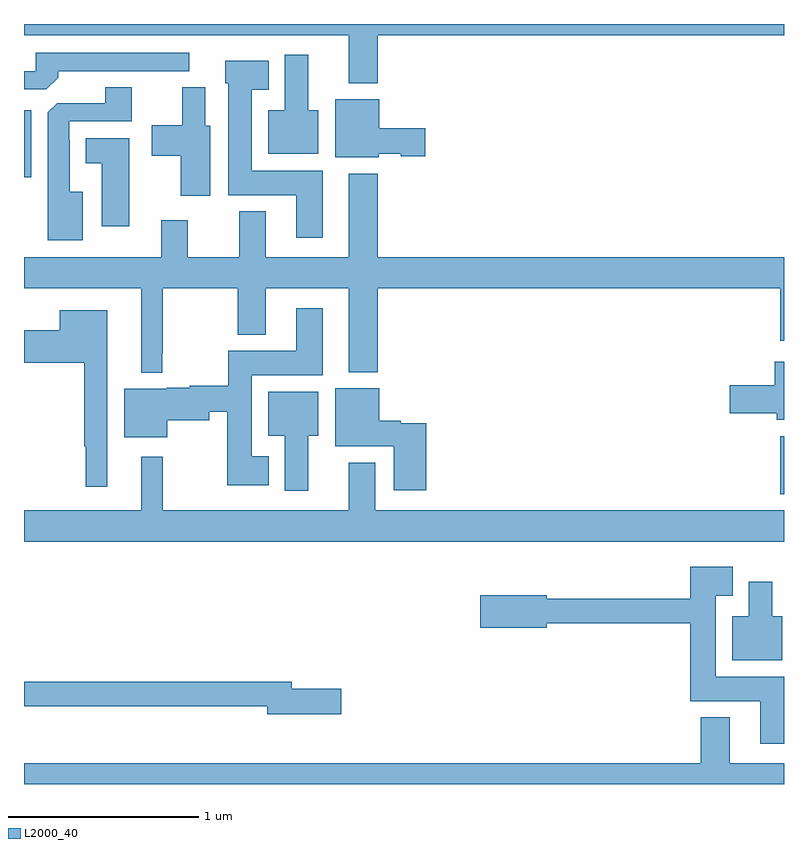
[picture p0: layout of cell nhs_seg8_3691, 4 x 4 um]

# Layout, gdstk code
import gdstk
lib = gdstk.Library(unit=1e-6, precision=1e-09)
def R(c, l, rs):  # rectangles x0, y0, x1, y1
    for r in rs: c.add(gdstk.rectangle(r[:2], r[2:], *l))
def P(c, l, *ps):  # polygons
    for p in ps: c.add(gdstk.Polygon(p, *l))
L2000_40 = (2000, 40)

nhs_seg8_3691 = lib.new_cell('nhs_seg8_3691')
R(nhs_seg8_3691, L2000_40, [(342.979,1107.425,343,1107.729), (339,1109.093,339.037,1109.446)])
P(nhs_seg8_3691, L2000_40, [(340.862,1109.84),(343,1109.84),(343,1109.9),(339,1109.9),(339,1109.84),(340.709,1109.84),(340.709,1109.588),(340.862,1109.588)],
  [(339.179,1109.618),(339.179,1109.652),(339.871,1109.652),(339.871,1109.748),(339.063,1109.748),(339.063,1109.652),(339,1109.652),(339,1109.556),(339.117,1109.556)],
  [(340.549,1109.446),(340.495,1109.446),(340.495,1109.737),(340.373,1109.737),(340.373,1109.446),(340.286,1109.446),(340.286,1109.216),(340.549,1109.216)],
  [(340.573,1109.128),(340.198,1109.128),(340.198,1109.555),(340.288,1109.555),(340.288,1109.707),(340.058,1109.707),(340.058,1109.589),(340.076,1109.589),(340.076,1109),(340.433,1109),(340.433,1108.776),(340.573,1108.776)],
  [(339.31,1109.017),(339.241,1109.017),(339.241,1109.291),(339.237,1109.291),(339.237,1109.388),(339.568,1109.388),(339.568,1109.567),(339.428,1109.567),(339.428,1109.484),(339.174,1109.484),(339.125,1109.435),(339.125,1108.763),(339.31,1108.763)],
  [(339.979,1109.364),(339.955,1109.364),(339.955,1109.566),(339.833,1109.566),(339.833,1109.368),(339.672,1109.368),(339.672,1109.206),(339.824,1109.206),(339.824,1108.995),(339.979,1108.995)],
  [(340.866,1109.216),(340.983,1109.216),(340.983,1109.204),(341.113,1109.204),(341.113,1109.351),(340.87,1109.351),(340.87,1109.503),(340.637,1109.503),(340.637,1109.198),(340.866,1109.198)],
  [(339.553,1109.299),(339.326,1109.299),(339.326,1109.168),(339.41,1109.168),(339.41,1108.836),(339.553,1108.836)],
  [(340.126,1108.265),(340.273,1108.265),(340.273,1108.508),(340.709,1108.508),(340.709,1108.067),(340.862,1108.067),(340.862,1108.508),(342.979,1108.508),(342.979,1108.233),(343,1108.233),(343,1108.672),(340.862,1108.672),(340.862,1109.113),(340.709,1109.113),(340.709,1108.672),(340.273,1108.672),(340.273,1108.915),(340.133,1108.915),(340.133,1108.672),(339.862,1108.672),(339.862,1108.867),(339.722,1108.867),(339.722,1108.672),(339,1108.672),(339,1108.508),(339.617,1108.508),(339.617,1108.064),(339.727,1108.064),(339.727,1108.171),(339.731,1108.171),(339.731,1108.508),(340.126,1108.508)],
  [(340.288,1107.625),(340.198,1107.625),(340.198,1108.052),(340.573,1108.052),(340.573,1108.405),(340.433,1108.405),(340.433,1108.18),(340.076,1108.18),(340.076,1107.997),(339.872,1107.997),(339.872,1107.986),(339.75,1107.986),(339.75,1107.979),(339.527,1107.979),(339.527,1107.725),(339.754,1107.725),(339.754,1107.814),(339.976,1107.814),(339.976,1107.86),(340.069,1107.86),(340.069,1107.473),(340.288,1107.473)],
  [(339.439,1108.393),(339.188,1108.393),(339.188,1108.288),(339,1108.288),(339,1108.118),(339.318,1108.118),(339.318,1107.677),(339.325,1107.677),(339.325,1107.465),(339.439,1107.465)],
  [(343,1108.123),(342.95,1108.123),(342.95,1107.998),(342.714,1107.998),(342.714,1107.851),(342.962,1107.851),(342.962,1107.818),(343,1107.818)],
  [(341.117,1107.799),(340.983,1107.799),(340.983,1107.812),(340.87,1107.812),(340.87,1107.982),(340.637,1107.982),(340.637,1107.677),(340.946,1107.677),(340.946,1107.447),(341.117,1107.447)],
  [(340.495,1107.734),(340.549,1107.734),(340.549,1107.964),(340.286,1107.964),(340.286,1107.734),(340.373,1107.734),(340.373,1107.444),(340.495,1107.444)],
  [(343,1107.34),(340.849,1107.34),(340.849,1107.592),(340.709,1107.592),(340.709,1107.34),(339.731,1107.34),(339.731,1107.622),(339.617,1107.622),(339.617,1107.34),(339,1107.34),(339,1107.176),(343,1107.176)],
  [(343,1106.464),(342.64,1106.464),(342.64,1106.891),(342.73,1106.891),(342.73,1107.043),(342.506,1107.043),(342.506,1106.875),(341.752,1106.875),(341.752,1106.893),(341.4,1106.893),(341.4,1106.723),(341.752,1106.723),(341.752,1106.746),(342.506,1106.746),(342.506,1106.336),(342.875,1106.336),(342.875,1106.112),(343,1106.112)],
  [(342.991,1106.782),(342.937,1106.782),(342.937,1106.965),(342.815,1106.965),(342.815,1106.782),(342.728,1106.782),(342.728,1106.552),(342.991,1106.552)],
  [(340.669,1106.402),(340.408,1106.402),(340.408,1106.438),(339,1106.438),(339,1106.31),(340.28,1106.31),(340.28,1106.267),(340.669,1106.267)],
  [(343,1106.008),(342.715,1106.008),(342.715,1106.251),(342.563,1106.251),(342.563,1106.008),(339,1106.008),(339,1105.9),(343,1105.9)])

lib.write_gds('nhs_seg8_3691.gds')
